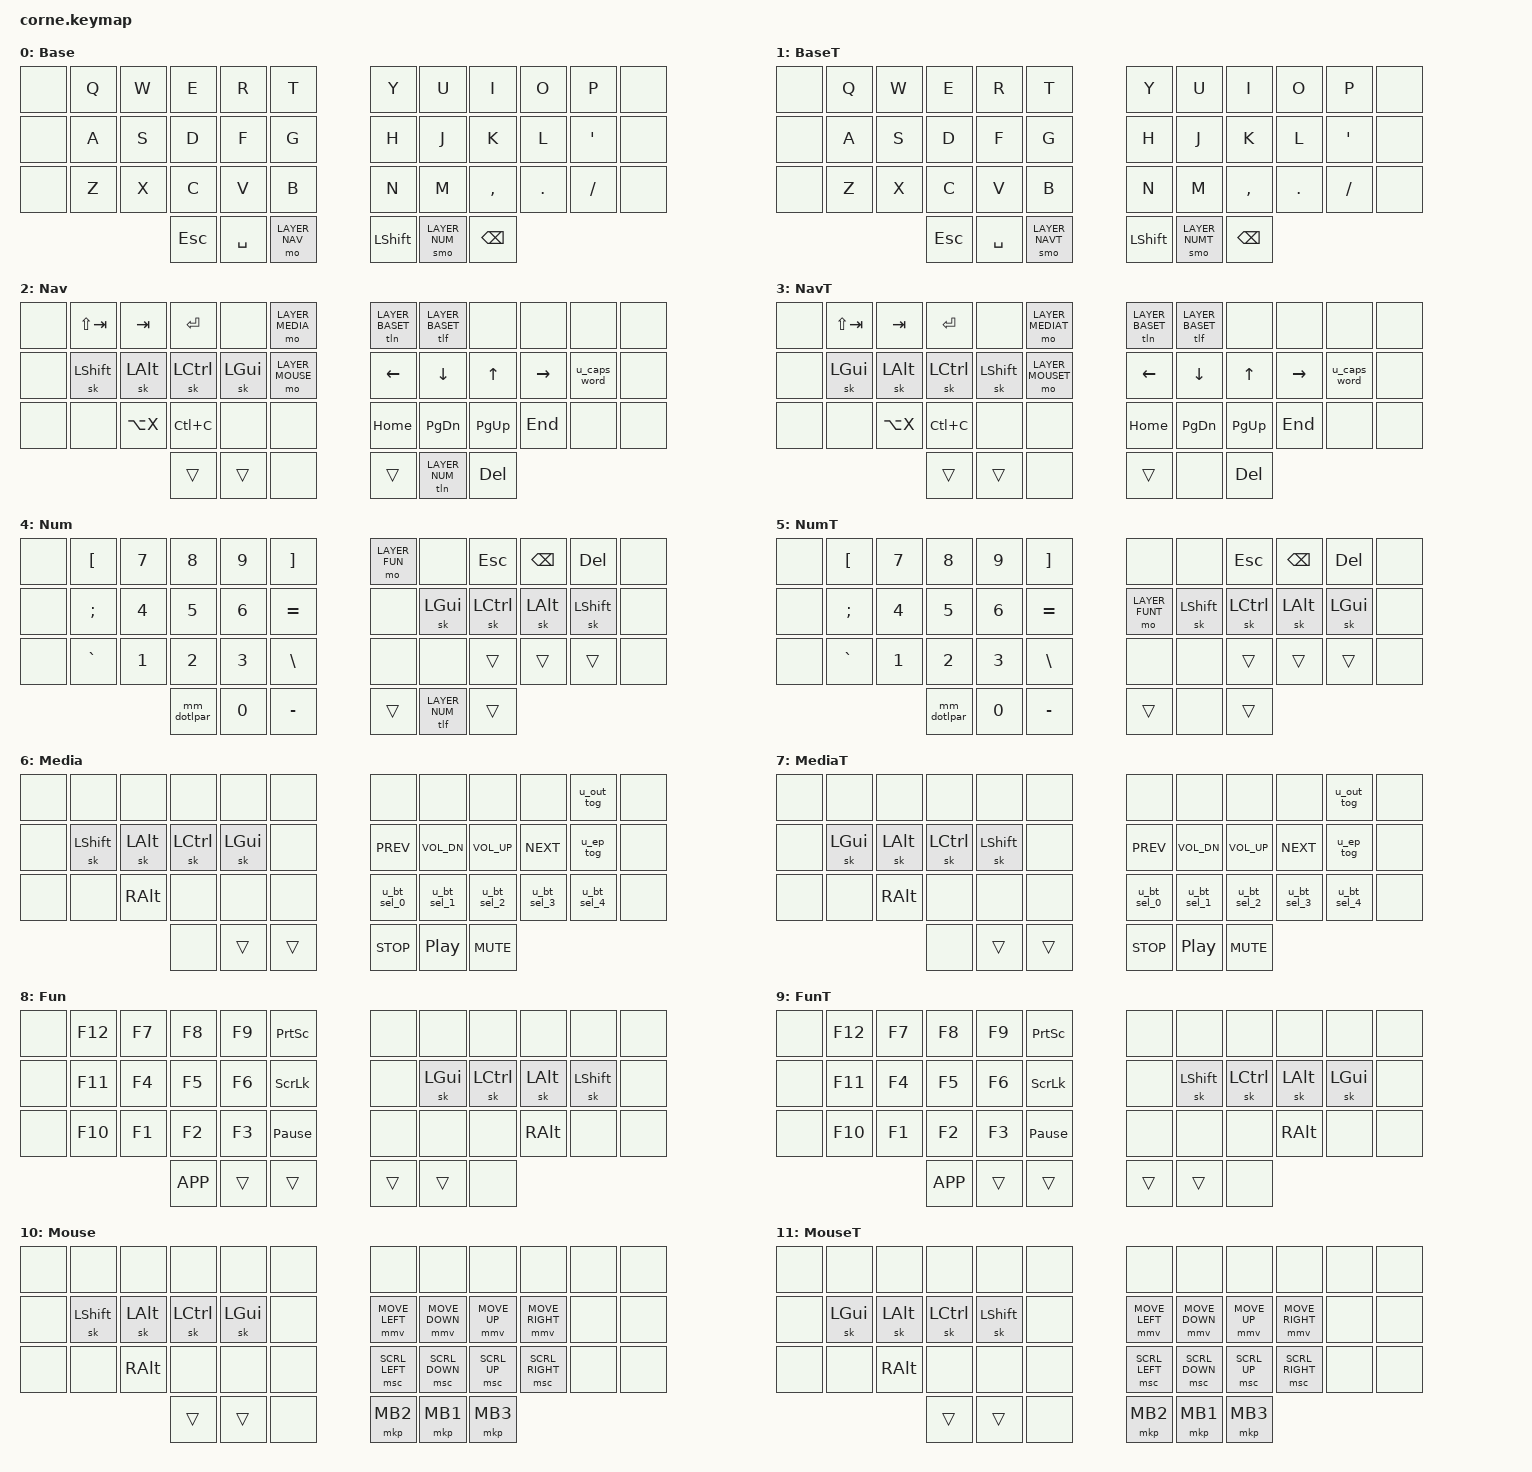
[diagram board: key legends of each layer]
#include <behaviors.dtsi>
#include <dt-bindings/zmk/keys.h>
#define ZMK_POINTING_DEFAULT_MOVE_VAL 1250
#define ZMK_POINTING_DEFAULT_SCRL_VAL 100
#include <dt-bindings/zmk/pointing.h>
#include <dt-bindings/zmk/ext_power.h>
#include <dt-bindings/zmk/bt.h>
#include <dt-bindings/zmk/outputs.h>

#define LAYER_BASE 0
#define LAYER_BASET 1
#define LAYER_NAV 2
#define LAYER_NAVT 3
#define LAYER_NUM 4
#define LAYER_NUMT 5
#define LAYER_MEDIA 6
#define LAYER_MEDIAT 7
#define LAYER_FUN 8
#define LAYER_FUNT 9
#define LAYER_MOUSE 10
#define LAYER_MOUSET 11
&caps_word {
    continue-list = <UNDERSCORE BACKSPACE DELETE K_CANCEL>;
};

&sk {
    release-after-ms = <60000>; // tap layer key again to cancel (or wait 1 minute I guess)
    quick-release; // remove on press rather than release
};

/ {
  behaviors {
    u_bt_sel_0: u_bt_sel_0 {
      compatible = "zmk,behavior-mod-morph";
      #binding-cells = <0>;
      bindings = < &bt BT_SEL 0 >, < &bt_clr_0 >;
      mods = <(MOD_LSFT|MOD_RSFT)>;
    };
    u_bt_sel_1: u_bt_sel_1 {
      compatible = "zmk,behavior-mod-morph";
      #binding-cells = <0>;
      bindings = < &bt BT_SEL 1 >, < &bt_clr_1 >;
      mods = <(MOD_LSFT|MOD_RSFT)>;
    };
    u_bt_sel_2: u_bt_sel_2 {
      compatible = "zmk,behavior-mod-morph";
      #binding-cells = <0>;
      bindings = < &bt BT_SEL 2 >, < &bt_clr_2 >;
      mods = <(MOD_LSFT|MOD_RSFT)>;
    };
    u_bt_sel_3: u_bt_sel_3 {
      compatible = "zmk,behavior-mod-morph";
      #binding-cells = <0>;
      bindings = < &bt BT_SEL 3 >, < &bt_clr_3 >;
      mods = <(MOD_LSFT|MOD_RSFT)>;
    };
    u_bt_sel_4: u_bt_sel_4 {
      compatible = "zmk,behavior-mod-morph";
      #binding-cells = <0>;
      bindings = < &bt BT_SEL 4 >, < &bt_clr_4 >;
      mods = <(MOD_LSFT|MOD_RSFT)>;
    };
    tln: tln {
      compatible = "zmk,behavior-toggle-layer";
      #binding-cells = <1>;
      display-name = "Toggle Layer On";
      toggle-mode = "on";
    };
    tlf: tlf {
      compatible = "zmk,behavior-toggle-layer";
      #binding-cells = <1>;
      display-name = "Toggle Layer Off";
      toggle-mode = "off";
    };
    mm_dotlpar: mm_dotlpar {
      compatible = "zmk,behavior-mod-morph";
      #binding-cells = <0>;
      bindings = <&kp DOT>, <&kp LPAR>;
      mods = <(MOD_LSFT)>;
    };
    u_ep_tog: u_ep_tog {
      compatible = "zmk,behavior-mod-morph";
      #binding-cells = <0>;
      bindings = < &ext_power EP_TOG >, < &ext_power EP_OFF >;
      mods = <(MOD_LSFT|MOD_RSFT)>;
    };
    u_out_tog: u_out_tog {
      compatible = "zmk,behavior-mod-morph";
      #binding-cells = <0>;
      bindings = < &out OUT_TOG >, < &out OUT_USB >;
      mods = <(MOD_LSFT|MOD_RSFT)>;
    };
    u_caps_word: u_caps_word {
      compatible = "zmk,behavior-mod-morph";
      #binding-cells = <0>;
      bindings = < &caps_word >, <&kp CAPSLOCK>;
      mods = <(MOD_LSFT|MOD_RSFT)>;
    };
  };

  keymap {
    compatible = "zmk,keymap";

    Base {
        bindings = <
&none  &kp Q  &kp W  &kp E    &kp R      &kp T          &kp Y       &kp U           &kp I      &kp O    &kp P     &none
&none  &kp A  &kp S  &kp D    &kp F      &kp G          &kp H       &kp J           &kp K      &kp L    &kp SQT   &none
&none  &kp Z  &kp X  &kp C    &kp V      &kp B          &kp N       &kp M           &kp COMMA  &kp DOT  &kp FSLH  &none
                     &kp ESC  &kp SPACE  &mo LAYER_NAV  &kp LSHIFT  &smo LAYER_NUM  &kp BSPC                           
        >;    
    };

    BaseT {
        bindings = <
&none  &kp Q  &kp W  &kp E    &kp R      &kp T            &kp Y       &kp U            &kp I      &kp O    &kp P     &none
&none  &kp A  &kp S  &kp D    &kp F      &kp G            &kp H       &kp J            &kp K      &kp L    &kp SQT   &none
&none  &kp Z  &kp X  &kp C    &kp V      &kp B            &kp N       &kp M            &kp COMMA  &kp DOT  &kp FSLH  &none
                     &kp ESC  &kp SPACE  &smo LAYER_NAVT  &kp LSHIFT  &smo LAYER_NUMT  &kp BSPC                           
        >;    
    };

    Nav {
        bindings = <
&none  &kp LS(TAB)  &kp TAB       &kp ENTER  &none     &mo LAYER_MEDIA  &tln LAYER_BASET  &tlf LAYER_BASET  &none       &none      &none         &none
&none  &sk LSHIFT   &sk LEFT_ALT  &sk LCTRL  &sk LGUI  &mo LAYER_MOUSE  &kp LEFT          &kp DOWN          &kp UP      &kp RIGHT  &u_caps_word  &none
&none  &none        &kp LA(X)     &kp LC(C)  &none     &none            &kp HOME          &kp PG_DN         &kp PG_UP   &kp END    &none         &none
                                  &trans     &trans    &none            &trans            &tln LAYER_NUM    &kp DELETE                                
        >;    
    };

    NavT {
        bindings = <
&none  &kp LS(TAB)  &kp TAB       &kp ENTER  &none       &mo LAYER_MEDIAT  &tln LAYER_BASET  &tlf LAYER_BASET  &none       &none      &none         &none
&none  &sk LGUI     &sk LEFT_ALT  &sk LCTRL  &sk LSHIFT  &mo LAYER_MOUSET  &kp LEFT          &kp DOWN          &kp UP      &kp RIGHT  &u_caps_word  &none
&none  &none        &kp LA(X)     &kp LC(C)  &none       &none             &kp HOME          &kp PG_DN         &kp PG_UP   &kp END    &none         &none
                                  &trans     &trans      &none             &trans            &none             &kp DELETE                                
        >;    
    };

    Num {
        bindings = <
&none  &kp LEFT_BRACKET  &kp NUMBER_7  &kp NUMBER_8  &kp NUMBER_9  &kp RIGHT_BRACKET  &mo LAYER_FUN  &none           &kp ESC    &kp BSPC      &kp DEL     &none
&none  &kp SEMICOLON     &kp NUMBER_4  &kp NUMBER_5  &kp NUMBER_6  &kp EQUAL          &none          &sk LGUI        &sk LCTRL  &sk LEFT_ALT  &sk LSHIFT  &none
&none  &kp GRAVE         &kp NUMBER_1  &kp NUMBER_2  &kp NUMBER_3  &kp BACKSLASH      &none          &none           &trans     &trans        &trans      &none
                                       &mm_dotlpar   &kp NUMBER_0  &kp MINUS          &trans         &tlf LAYER_NUM  &trans                                    
        >;    
    };

    NumT {
        bindings = <
&none  &kp LEFT_BRACKET  &kp NUMBER_7  &kp NUMBER_8  &kp NUMBER_9  &kp RIGHT_BRACKET  &none           &none       &kp ESC    &kp BSPC      &kp DEL   &none
&none  &kp SEMICOLON     &kp NUMBER_4  &kp NUMBER_5  &kp NUMBER_6  &kp EQUAL          &mo LAYER_FUNT  &sk LSHIFT  &sk LCTRL  &sk LEFT_ALT  &sk LGUI  &none
&none  &kp GRAVE         &kp NUMBER_1  &kp NUMBER_2  &kp NUMBER_3  &kp BACKSLASH      &none           &none       &trans     &trans        &trans    &none
                                       &mm_dotlpar   &kp NUMBER_0  &kp MINUS          &trans          &none       &trans                                  
        >;    
    };

    Media {
        bindings = <
&none  &none       &none     &none      &none     &none   &none        &none         &none         &none        &u_out_tog   &none
&none  &sk LSHIFT  &sk LALT  &sk LCTRL  &sk LGUI  &none   &kp C_PREV   &kp C_VOL_DN  &kp C_VOL_UP  &kp C_NEXT   &u_ep_tog    &none
&none  &none       &kp RALT  &none      &none     &none   &u_bt_sel_0  &u_bt_sel_1   &u_bt_sel_2   &u_bt_sel_3  &u_bt_sel_4  &none
                             &none      &trans    &trans  &kp C_STOP   &kp C_PP      &kp C_MUTE                                   
        >;    
    };

    MediaT {
        bindings = <
&none  &none     &none     &none      &none       &none   &none        &none         &none         &none        &u_out_tog   &none
&none  &sk LGUI  &sk LALT  &sk LCTRL  &sk LSHIFT  &none   &kp C_PREV   &kp C_VOL_DN  &kp C_VOL_UP  &kp C_NEXT   &u_ep_tog    &none
&none  &none     &kp RALT  &none      &none       &none   &u_bt_sel_0  &u_bt_sel_1   &u_bt_sel_2   &u_bt_sel_3  &u_bt_sel_4  &none
                           &none      &trans      &trans  &kp C_STOP   &kp C_PP      &kp C_MUTE                                   
        >;    
    };

    Fun {
        bindings = <
&none  &kp F12  &kp F7  &kp F8     &kp F9  &kp PSCRN        &none   &none     &none      &none     &none       &none
&none  &kp F11  &kp F4  &kp F5     &kp F6  &kp SLCK         &none   &sk LGUI  &sk LCTRL  &sk LALT  &sk LSHIFT  &none
&none  &kp F10  &kp F1  &kp F2     &kp F3  &kp PAUSE_BREAK  &none   &none     &none      &kp RALT  &none       &none
                        &kp K_APP  &trans  &trans           &trans  &trans    &none                                 
        >;    
    };

    FunT {
        bindings = <
&none  &kp F12  &kp F7  &kp F8     &kp F9  &kp PSCRN        &none   &none       &none      &none     &none     &none
&none  &kp F11  &kp F4  &kp F5     &kp F6  &kp SLCK         &none   &sk LSHIFT  &sk LCTRL  &sk LALT  &sk LGUI  &none
&none  &kp F10  &kp F1  &kp F2     &kp F3  &kp PAUSE_BREAK  &none   &none       &none      &kp RALT  &none     &none
                        &kp K_APP  &trans  &trans           &trans  &trans      &none                               
        >;    
    };

    Mouse {
        bindings = <
&none  &none       &none     &none      &none     &none  &none           &none           &none         &none            &none  &none
&none  &sk LSHIFT  &sk LALT  &sk LCTRL  &sk LGUI  &none  &mmv MOVE_LEFT  &mmv MOVE_DOWN  &mmv MOVE_UP  &mmv MOVE_RIGHT  &none  &none
&none  &none       &kp RALT  &none      &none     &none  &msc SCRL_LEFT  &msc SCRL_DOWN  &msc SCRL_UP  &msc SCRL_RIGHT  &none  &none
                             &trans     &trans    &none  &mkp MB2        &mkp MB1        &mkp MB3                                   
        >;    
    };

    MouseT {
        bindings = <
&none  &none     &none     &none      &none       &none  &none           &none           &none         &none            &none  &none
&none  &sk LGUI  &sk LALT  &sk LCTRL  &sk LSHIFT  &none  &mmv MOVE_LEFT  &mmv MOVE_DOWN  &mmv MOVE_UP  &mmv MOVE_RIGHT  &none  &none
&none  &none     &kp RALT  &none      &none       &none  &msc SCRL_LEFT  &msc SCRL_DOWN  &msc SCRL_UP  &msc SCRL_RIGHT  &none  &none
                           &trans     &trans      &none  &mkp MB2        &mkp MB1        &mkp MB3                                   
        >;    
    };
  };

  macros {
  smo: smo {
      compatible = "zmk,behavior-macro-one-param";
      #binding-cells = <1>;
      wait-ms = <0>;
      tap-ms = <0>;
      bindings
        = <&macro_tap &kp K_CANCEL>
        , <&macro_param_1to1>
        , <&macro_press &mo MACRO_PLACEHOLDER>
        , <&macro_pause_for_release>
        , <&macro_param_1to1>
        , <&macro_release &mo MACRO_PLACEHOLDER>
        ;
  };
  bt_clr_0: bt_clr_0 {
      compatible = "zmk,behavior-macro";
      #binding-cells = <0>;
      wait-ms = <0>;
      bindings = < &bt BT_SEL 0 &bt BT_CLR >;
    };
  bt_clr_1: bt_clr_1 {
      compatible = "zmk,behavior-macro";
      #binding-cells = <0>;
      wait-ms = <0>;
      bindings = < &bt BT_SEL 1 &bt BT_CLR >;
    };
  bt_clr_2: bt_clr_2 {
      compatible = "zmk,behavior-macro";
      #binding-cells = <0>;
      wait-ms = <0>;
      bindings = < &bt BT_SEL 2 &bt BT_CLR >;
    };
  bt_clr_3: bt_clr_3 {
      compatible = "zmk,behavior-macro";
      #binding-cells = <0>;
      wait-ms = <0>;
      bindings = < &bt BT_SEL 3 &bt BT_CLR >;
    };
  bt_clr_4: bt_clr_4 {
      compatible = "zmk,behavior-macro";
      #binding-cells = <0>;
      wait-ms = <0>;
      bindings = < &bt BT_SEL 4 &bt BT_CLR >;
    };
  };

};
